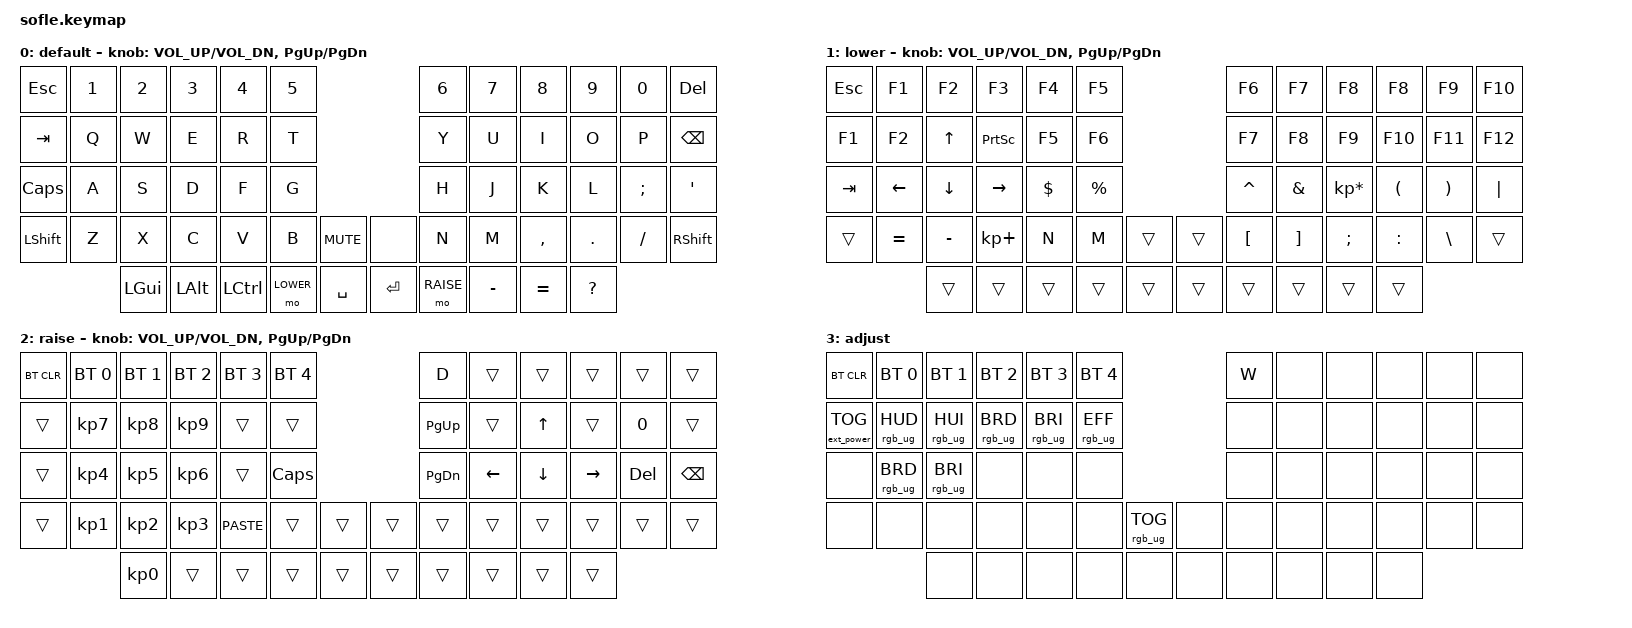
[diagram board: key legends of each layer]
/*
 * Copyright (c) 2020 The ZMK Contributors
 *
 * SPDX-License-Identifier: MIT
 */

#include <behaviors.dtsi>
#include <dt-bindings/zmk/bt.h>
#include <dt-bindings/zmk/ext_power.h>
#include <dt-bindings/zmk/keys.h>
#include <dt-bindings/zmk/rgb.h>

#define BASE 0
#define LOWER 1
#define RAISE 2
#define ADJUST 3

/ {
    // Activate ADJUST layer by pressing raise and lower

    conditional_layers {
        compatible = "zmk,conditional-layers";

        adjust_layer {
            if-layers = <LOWER RAISE>;
            then-layer = <ADJUST>;
        };
    };

    keymap {
        compatible = "zmk,keymap";

        default_layer {
            label = "default";

            // ------------------------------------------------------------------------------------------------------------
            // |   `   |  1  |  2  |  3   |  4   |  5   |                   |  6   |  7    |  8    |  9   |   0   |       |
            // |  ESC  |  Q  |  W  |  E   |  R   |  T   |                   |  Y   |  U    |  I    |  O   |   P   | BKSPC |
            // |  TAB  |  A  |  S  |  D   |  F   |  G   |                   |  H   |  J    |  K    |  L   |   ;   |   '   |
            // | SHIFT |  Z  |  X  |  C   |  V   |  B   |  MUTE  |  |       |  N   |  M    |  ,    |  .   |   /   | SHIFT |
            //               | GUI | ALT  | CTRL | LOWER|  ENTER |  | SPACE | RAISE| CTRL  | ALT   | GUI  |

            bindings = <
&kp ESC         &kp N1  &kp N2        &kp N3    &kp N4     &kp N5                              &kp N6     &kp N7     &kp N8     &kp N9        &kp N0    &kp DELETE
&kp TAB         &kp Q   &kp W         &kp E     &kp R      &kp T                               &kp Y      &kp U      &kp I      &kp O         &kp P     &kp BACKSPACE
&kp CAPSLOCK    &kp A   &kp S         &kp D     &kp F      &kp G                               &kp H      &kp J      &kp K      &kp L         &kp SEMI  &kp SQT
&kp LEFT_SHIFT  &kp Z   &kp X         &kp C     &kp V      &kp B      &kp C_MUTE    &none      &kp N      &kp M      &kp COMMA  &kp DOT       &kp FSLH  &kp RSHFT
                        &kp LEFT_GUI  &kp LALT  &kp LCTRL  &mo LOWER  &kp SPACE     &kp ENTER  &mo RAISE  &kp MINUS  &kp EQUAL  &kp QUESTION
            >;

            sensor-bindings =
                <&inc_dec_kp C_VOLUME_UP C_VOL_DN>,
                <&inc_dec_kp PG_UP PG_DN>;
        };

        lower_layer {
            label = "lower";

            // TODO: Some binds are waiting for shifted keycode support.
            // ------------------------------------------------------------------------------------------------------------
            // |       |  F1 |  F2 |  F3  |  F4  |  F5  |                   |  F6  |  F7   |  F8   |  F9  |  F10  |  F11  |
            // |   `   |  1  |  2  |  3   |  4   |  5   |                   |  6   |  7    |  8    |  9   |   0   |  F12  |
            // |       |  !  |  @  |  #   |  $   |  %   |                   |  ^   |  &    |  *    |  (   |   )   |   |   |
            // |       |  =  |  -  |  +   |  {   |  }   |        |  |       |  [   |  ]    |  ;    |  :   |   \   |       |
            //               |     |      |      |      |        |  |       |      |       |       |      |

            bindings = <
&kp ESC  &kp F1          &kp F2          &kp F3           &kp F4    &kp F5                       &kp F6     &kp F7    &kp F8           &kp F8     &kp F9    &kp F10
&kp F1   &kp F2          &kp UP_ARROW    &kp PRINTSCREEN  &kp F5    &kp F6                       &kp F7     &kp F8    &kp F9           &kp F10    &kp F11   &kp F12
&kp TAB  &kp LEFT_ARROW  &kp DOWN_ARROW  &kp RIGHT_ARROW  &kp DLLR  &kp PRCNT                    &kp CARET  &kp AMPS  &kp KP_MULTIPLY  &kp LPAR   &kp RPAR  &kp PIPE
&trans   &kp EQUAL       &kp MINUS       &kp KP_PLUS      &kp N     &kp M      &trans    &trans  &kp LBKT   &kp RBKT  &kp SEMI         &kp COLON  &kp BSLH  &trans
                         &trans          &trans           &trans    &trans     &trans    &trans  &trans     &trans    &trans           &trans
            >;

            sensor-bindings = <&inc_dec_kp C_VOL_UP C_VOL_DN &inc_dec_kp PG_UP PG_DN>;
        };

        raise_layer {
            label = "raise";

            // ------------------------------------------------------------------------------------------------------------
            // | BTCLR | BT1  | BT2  |  BT3  |  BT4  |  BT5 |                |      |      |       |      |       |       |
            // |       | INS  | PSCR | GUI   |       |      |                | PGUP |      |   ^   |      |       |       |
            // |       | ALT  | CTRL | SHIFT |       | CAPS |                | PGDN |   <- |   v   |  ->  |  DEL  | BKSPC |
            // |       | UNDO | CUT  | COPY  | PASTE |      |      |  |      |      |      |       |      |       |       |
            //                |      |       |       |      |      |  |      |      |      |       |      |

            bindings = <
&bt BT_CLR  &bt BT_SEL 0     &bt BT_SEL 1     &bt BT_SEL 2     &bt BT_SEL 3  &bt BT_SEL 4                    &kp D      &trans    &trans    &trans     &trans   &trans
&trans      &kp KP_NUMBER_7  &kp KP_NUMBER_8  &kp KP_NUMBER_9  &trans        &trans                          &kp PG_UP  &trans    &kp UP    &trans     &kp N0   &trans
&trans      &kp KP_NUMBER_4  &kp KP_NUMBER_5  &kp KP_NUMBER_6  &trans        &kp CLCK                        &kp PG_DN  &kp LEFT  &kp DOWN  &kp RIGHT  &kp DEL  &kp BSPC
&trans      &kp KP_NUMBER_1  &kp KP_NUMBER_2  &kp KP_NUMBER_3  &kp K_PASTE   &trans        &trans    &trans  &trans     &trans    &trans    &trans     &trans   &trans
                             &kp KP_NUMBER_0  &trans           &trans        &trans        &trans    &trans  &trans     &trans    &trans    &trans
            >;

            sensor-bindings = <&inc_dec_kp C_VOL_UP C_VOL_DN &inc_dec_kp PG_UP PG_DN>;
        };

        adjust_layer {
            // ----------------------------------------------------------------------------------------------------------------------------
            // | BTCLR  |  BT1    |  BT2    |   BT3   |   BT4   |   BT5   |                  |      |      |       |      |       |       |
            // | EXTPWR | RGB_HUD | RGB_HUI | RGB_SAD | RGB_SAI | RGB_EFF |                  |      |      |       |      |       |       |
            // |        | RGB_BRD | RGB_BRI |         |         |         |                  |      |      |       |      |       |       |
            // |        |         |         |         |         |         | RGB_TOG | |      |      |      |       |      |       |       |
            //                    |         |         |         |         |         | |      |      |      |       |      |

            label = "adjust";
            bindings = <
&bt BT_CLR         &bt BT_SEL 0     &bt BT_SEL 1     &bt BT_SEL 2     &bt BT_SEL 3     &bt BT_SEL 4                               &kp W  &none  &none  &none  &none  &none
&ext_power EP_TOG  &rgb_ug RGB_HUD  &rgb_ug RGB_HUI  &rgb_ug RGB_BRD  &rgb_ug RGB_BRI  &rgb_ug RGB_EFF                            &none  &none  &none  &none  &none  &none
&none              &rgb_ug RGB_BRD  &rgb_ug RGB_BRI  &none            &none            &none                                      &none  &none  &none  &none  &none  &none
&none              &none            &none            &none            &none            &none            &rgb_ug RGB_TOG    &none  &none  &none  &none  &none  &none  &none
                                    &none            &none            &none            &none            &none              &none  &none  &none  &none  &none
            >;
        };
    };
};
